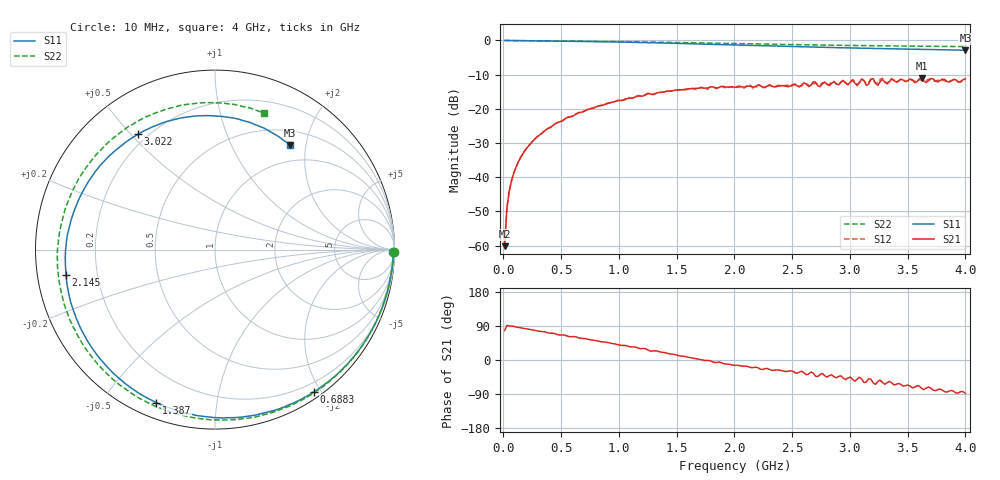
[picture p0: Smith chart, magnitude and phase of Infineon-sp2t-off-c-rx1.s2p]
! 5/10/2016 1:39:23 PM
! C:\ANRITSUVNA\DATA\INFINEON-SP2T-OFF-C-RX1.S2P
! CHANNEL.1
! TR.MEASUREMENT
! CORRECTED.DATA
# GHZ S RI R 50.0
! FREQ.GHZ  S11RE  S11IM  S21RE  S21IM  S12RE  S12IM  S22RE  S22IM
!; PortSelection: Port_12
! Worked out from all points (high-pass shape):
!   201 points, 10 MHz to 4 GHz, reference 50 ohm
!   highest |S21| = -11.12 dB at 3.621 GHz (marker M1); lowest = -60.2 dB at 10 MHz (marker M2)
!   |S21| within 3 dB of the highest: 1.627 GHz to end of sweep
!   lowest |S11| = -2.9 dB at 4 GHz (marker M3), VSWR 6.09, Z = 35.8 + j86.1 ohm
!   |S11| at or under -10 dB: nowhere
!   |S22| runs from -1.8 to 0.0 dB; largest |S21 - S12| = 0.024
!   S11 on the Smith chart (normalised r, x): 10 MHz: open; 688.3 MHz: 0.08, -1.91; 1.387 GHz: 0.07, -0.68; 2.145 GHz: 0.09, -0.08; 3.022 GHz: 0.16, +0.52; 4 GHz: 0.72, +1.72
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0.01  0.9943 -0.016  0.000214 0.000959  0.000198 0.000968  0.9955 -0.0158
0.02995  0.9922 -0.0439  -6.96e-05 0.00357  -0.00011 0.00356  0.9927 -0.0417
0.0499  0.9898 -0.0721  -8e-06 0.00622  -4.56e-05 0.00621  0.9903 -0.0676
0.14965  0.9661 -0.2096  0.00171 0.0195  0.00171 0.0195  0.9692 -0.1949
0.3691  0.8516 -0.4869  0.0143 0.0474  0.0145 0.0476  0.8694 -0.4576
0.6883  0.5506 -0.7927  0.0494 0.0757  0.0498 0.0756  0.6013 -0.7634
1.0075  0.1517 -0.933  0.1027 0.0837  0.1028 0.083  0.2271 -0.9317
1.34665  -0.2811 -0.8722  0.1608 0.0654  0.1606 0.0623  -0.2051 -0.9172
1.38655  -0.3278 -0.8524  0.1648 0.0601  0.1662 0.0581  -0.2548 -0.9023
2.005  -0.803 -0.2963  0.2 -0.0501  0.1987 -0.0414  -0.8087 -0.3926
2.14465  -0.8302 -0.1393  0.1991 -0.0726  0.1968 -0.0834  -0.8572 -0.2344
2.6833  -0.6804 0.415  0.2038 -0.1419  0.1919 -0.1316  -0.7804 0.3548
2.74315  -0.6426 0.4658  0.1669 -0.128  0.18 -0.1343  -0.7488 0.4117
3.02245  -0.4276 0.6437  0.1656 -0.2024  0.175 -0.2014  -0.5631 0.6247
3.06235  -0.3929 0.6635  0.1365 -0.169  0.1408 -0.1797  -0.5299 0.6504
3.10225  -0.3588 0.6788  0.1739 -0.2108  0.1689 -0.207  -0.5004 0.6726
3.14215  -0.3214 0.6945  0.1175 -0.187  0.1328 -0.1931  -0.4677 0.6928
3.202  -0.2691 0.7141  0.1344 -0.2397  0.1295 -0.2343  -0.417 0.7233
3.2419  -0.2295 0.724  0.1214 -0.1842  0.138 -0.1946  -0.3832 0.7399
3.34165  -0.1363 0.7404  0.1377 -0.2073  0.1358 -0.2189  -0.2978 0.773
3.62095  0.1184 0.7298  0.071 -0.2687  0.0676 -0.2547  -0.0488 0.8192
4  0.4192 0.5826  0.0082 -0.2741  0.00193 -0.2666  0.2724 0.762
